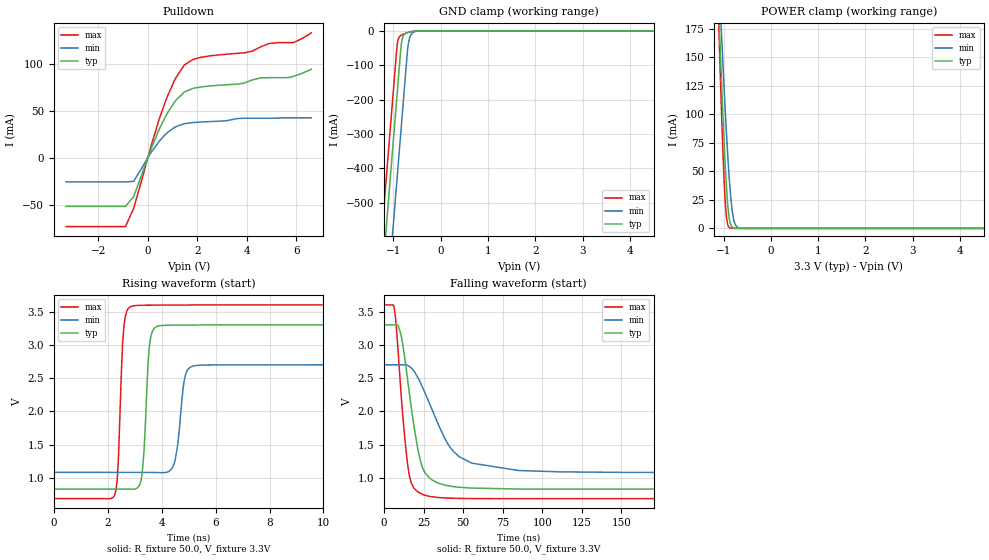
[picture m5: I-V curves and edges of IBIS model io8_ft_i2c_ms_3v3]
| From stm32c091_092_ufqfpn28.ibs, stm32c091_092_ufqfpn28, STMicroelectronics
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[Model]   io8_ft_i2c_ms_3v3
Model_type I/O_open_drain
Polarity   Non-Inverting
Enable   Active-Low
| CAP_THRESHOLD on pad IOFT is "UDTCAPC" :
| Rising=30.0% of vddiom   Falling=70.0% of vddiom
| C_comp min and max val. don't necessarily correlate with the min and max pvt
| but are the smallest and greatest pad capacitance found.
| var   typ   min   max
C_comp   2.42368pF  2.36361pF  2.44769pF
|C_comp_pulldown   2.42368pF  2.36361pF  2.44769pF
Vinl = 1.35V
Vinh = 1.8V
Vmeas = 1.65V   | Reference voltage for timing measurements
Cref  = 50.0pF   | Timing specification test load capacitance value
Rref  = 1.0MOhm   | Timing specification test load resistance value
Vref  = 1.815V   | Timing specification test load voltage
[Model Spec]
| TIME_THRESHOLD on pin ZII2CV12 is "CMOS" :
| Rising=50.0% of vdd   Falling=50.0% of vdd
Vinl 1.34770V 1.11370V 1.44970V
Vinh 1.77530V 1.49530V 1.90330V
| variable   typ   min   max
[Temperature Range] 25.0 125.0 -40.0
| variable   typ   min   max
[Voltage Range] 3.3V 2.7V 3.6V
| variable   typ   min   max
[POWER Clamp Reference] 3.3V 2.7V 3.6V
| variable   typ   min   max
[GND Clamp Reference] 0V 0V 0V
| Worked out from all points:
|   slope of the pulldown table from 0 to 0.495 V, typ, clamps not added: 15.4 ohm
|   GND clamp passes 1 mA (typ) near -0.58 V on its own axis
|   POWER clamp passes 1 mA (typ) near -0.81 V on its own axis
|   rising waveform, R_fixture 50.0, V_fixture 3.3V: 20-80 % time 181ps typ, 247ps min, 158ps max; typ from 0.831 V to 3.3 V
|   falling waveform, R_fixture 50.0, V_fixture 3.3V: 20-80 % time 9.28ns typ, 19.5ns min, 6.02ns max; typ from 3.3 V to 0.831 V
[POWER Clamp]
-3.3V     2.991A     2.543A     3.694A
-1.1V     191.1mA    222.7mA    177.1mA
-1.08V    169mA      204.2mA    149.9mA
-1.05V    136.9mA    176.9mA    110.9mA
-1.01V    96.55mA    141.6mA    64.02mA
-970mV    60.39mA    108.2mA    27.41mA
-930mV    31.08mA    77.43mA    7.282mA
-900mV    15.67mA    56.69mA    2.025mA
-860mV    4.779mA    33.42mA    315.2uA
-780mV    272.1uA    6.953mA    6.98uA
-670mV    4.467uA    374.2uA    36.58nA
6.6V      0A         0A         0A
[GND Clamp]
-3.3V     -4.227A    -4.472A    -4.082A
-1.25V    -742.2mA   -986.7mA   -597.4mA
-930mV    -198.2mA   -442.7mA   -53.39mA
-920mV    -181.2mA   -425.7mA   -39.67mA
-890mV    -130.2mA   -374.7mA   -20.93mA
-830mV    -35.33mA   -272.7mA   -12.06mA
-790mV    -14.13mA   -204.7mA   -9.442mA
-720mV    -5.312mA   -85.66mA   -5.702mA
-690mV    -3.888mA   -42.66mA   -4.338mA
-650mV    -2.529mA   -17.47mA   -2.784mA
-480mV    -113.2uA   -479.8uA   -69.15uA
6.6V      942.9pA    93.37nA    678.9pA
| variable   typ   min   max
[Pullup Reference] 3.3V 2.7V 3.6V
| variable   typ   min   max
[Pulldown Reference] 0V 0V 0V
[Pulldown]
-3.3V     -51.88mA   -25.81mA   -73.46mA
-900mV    -51.88mA   -25.81mA   -73.32mA
-570mV    -41.39mA   -25.18mA   -53.99mA
120mV     8.622mA    5.148mA    11.58mA
690mV     42.7mA     24.28mA    58.45mA
1.08V     59.39mA    32.34mA    82.54mA
1.48V     70.24mA    36.36mA    99.08mA
2.17V     75.62mA    38.17mA    107.3mA
3.88V     79.57mA    42.16mA    111.9mA
4.9V      85.45mA    42.16mA    121.9mA
5.88V     86.9mA     42.6mA     122.9mA
6.6V      94.4mA     42.6mA     133.3mA
[Ramp]
dV/dt_r 1.48134V/174.18144ps 971.10539mV/246.18647ps 1.74774V/157.3854ps
dV/dt_f 1.48135V/9.27212ns 971.1367mV/19.54335ns 1.74775V/6.01497ns
R_load = 50.0
| Removed startup time: 0s 0s 0s  .
| Removed end time: 49.75ns.
[Rising Waveform]
R_fixture   = 50.0
V_fixture   = 3.3V
V_fixture_min = 2.7V
V_fixture_max = 3.6V
0s        831.1mV    1.081V     687.1mV
2.25ns    830.7mV    1.081V     733.8mV
2.35ns    830.6mV    1.081V     960.2mV
2.6ns     830.3mV    1.081V     3.29V
2.95ns    828.8mV    1.081V     3.587V
3.25ns    992mV      1.081V     3.594V
3.6ns     3.13V      1.08V      3.596V
3.95ns    3.288V     1.078V     3.597V
5.3ns     3.298V     2.689V     3.599V
49.75ns   3.3V       2.7V       3.6V
| Removed startup time: 0s 0s 0s  .
| Removed end time: 499.75ns.
[Falling Waveform]
R_fixture   = 50.0
V_fixture   = 3.3V
V_fixture_min = 2.7V
V_fixture_max = 3.6V
0s        3.3V       2.7V       3.6V
6.725ns   3.3V       2.7V       3.52V
11.22ns   3.099V     2.7V       2.134V
15.93ns   2.296V     2.677V     1.045V
21.48ns   1.428V     2.504V     788.8mV
26ns      1.075V     2.274V     738.3mV
39.65ns   885.8mV    1.54V      697.3mV
47.4ns    859.4mV    1.32V      691.7mV
85.15ns   832.5mV    1.111V     687.1mV
499.8ns   831.1mV    1.081V     687.1mV
